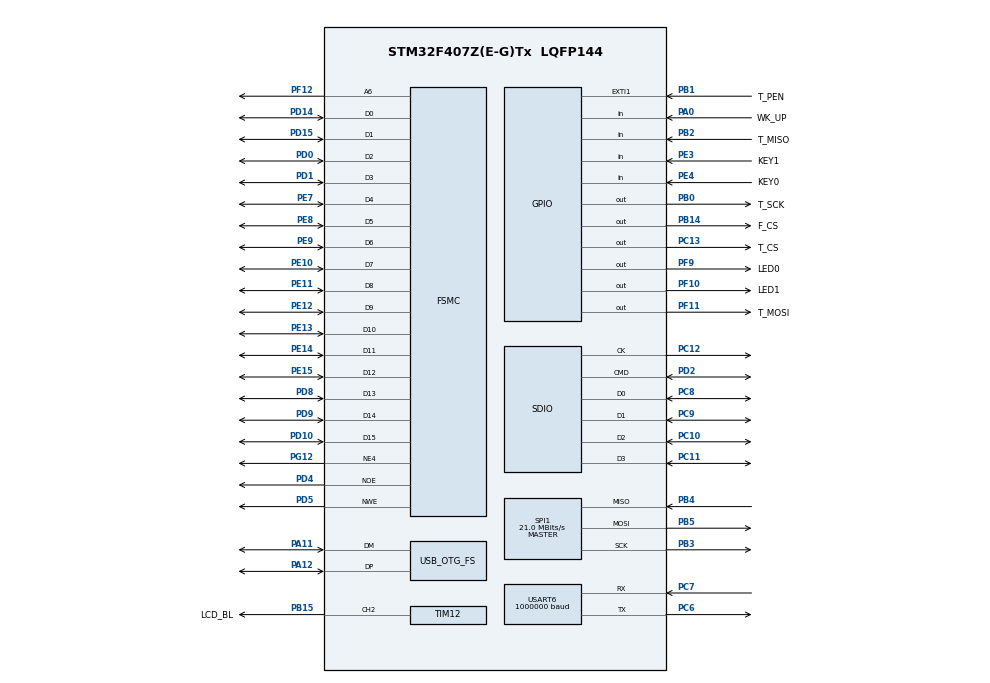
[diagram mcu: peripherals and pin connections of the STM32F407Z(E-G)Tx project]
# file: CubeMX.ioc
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ADC1.Channel-2\#ChannelRegularConversion=ADC_CHANNEL_TEMPSENSOR
ADC1.NbrOfConversionFlag=1
ADC1.Rank-2\#ChannelRegularConversion=1
ADC1.SamplingTime-2\#ChannelRegularConversion=ADC_SAMPLETIME_3CYCLES
ADC1.master=1
Dma.Request0=USART6_RX
Dma.Request1=USART6_TX
Dma.Request2=SDIO_RX
Dma.Request3=SDIO_TX
Dma.SDIO_RX.2.Direction=DMA_PERIPH_TO_MEMORY
Dma.SDIO_RX.2.FIFOMode=DMA_FIFOMODE_ENABLE
Dma.SDIO_RX.2.FIFOThreshold=DMA_FIFO_THRESHOLD_FULL
Dma.SDIO_RX.2.Instance=DMA2_Stream6
Dma.SDIO_RX.2.MemBurst=DMA_MBURST_INC4
Dma.SDIO_RX.2.MemDataAlignment=DMA_MDATAALIGN_WORD
Dma.SDIO_RX.2.MemInc=DMA_MINC_ENABLE
Dma.SDIO_RX.2.Mode=DMA_PFCTRL
Dma.SDIO_RX.2.PeriphBurst=DMA_PBURST_INC4
Dma.SDIO_RX.2.PeriphDataAlignment=DMA_PDATAALIGN_WORD
Dma.SDIO_RX.2.PeriphInc=DMA_PINC_DISABLE
Dma.SDIO_RX.2.Priority=DMA_PRIORITY_HIGH
Dma.SDIO_TX.3.Direction=DMA_MEMORY_TO_PERIPH
Dma.SDIO_TX.3.FIFOMode=DMA_FIFOMODE_ENABLE
Dma.SDIO_TX.3.FIFOThreshold=DMA_FIFO_THRESHOLD_FULL
Dma.SDIO_TX.3.Instance=DMA2_Stream3
Dma.SDIO_TX.3.MemBurst=DMA_MBURST_INC4
Dma.SDIO_TX.3.MemDataAlignment=DMA_MDATAALIGN_WORD
Dma.SDIO_TX.3.MemInc=DMA_MINC_ENABLE
Dma.SDIO_TX.3.Mode=DMA_PFCTRL
Dma.SDIO_TX.3.PeriphBurst=DMA_PBURST_INC4
Dma.SDIO_TX.3.PeriphDataAlignment=DMA_PDATAALIGN_WORD
Dma.SDIO_TX.3.PeriphInc=DMA_PINC_DISABLE
Dma.SDIO_TX.3.Priority=DMA_PRIORITY_HIGH
Dma.USART6_RX.0.Direction=DMA_PERIPH_TO_MEMORY
Dma.USART6_RX.0.FIFOMode=DMA_FIFOMODE_ENABLE
Dma.USART6_RX.0.FIFOThreshold=DMA_FIFO_THRESHOLD_FULL
Dma.USART6_RX.0.Instance=DMA2_Stream1
Dma.USART6_RX.0.MemBurst=DMA_MBURST_SINGLE
Dma.USART6_RX.0.MemDataAlignment=DMA_MDATAALIGN_BYTE
Dma.USART6_RX.0.MemInc=DMA_MINC_ENABLE
Dma.USART6_RX.0.Mode=DMA_CIRCULAR
Dma.USART6_RX.0.PeriphBurst=DMA_PBURST_SINGLE
Dma.USART6_RX.0.PeriphDataAlignment=DMA_PDATAALIGN_BYTE
Dma.USART6_RX.0.PeriphInc=DMA_PINC_DISABLE
Dma.USART6_RX.0.Priority=DMA_PRIORITY_HIGH
Dma.USART6_TX.1.Direction=DMA_MEMORY_TO_PERIPH
Dma.USART6_TX.1.FIFOMode=DMA_FIFOMODE_ENABLE
Dma.USART6_TX.1.FIFOThreshold=DMA_FIFO_THRESHOLD_FULL
Dma.USART6_TX.1.Instance=DMA2_Stream7
Dma.USART6_TX.1.MemBurst=DMA_MBURST_SINGLE
Dma.USART6_TX.1.MemDataAlignment=DMA_MDATAALIGN_BYTE
Dma.USART6_TX.1.MemInc=DMA_MINC_ENABLE
Dma.USART6_TX.1.Mode=DMA_NORMAL
Dma.USART6_TX.1.PeriphBurst=DMA_PBURST_SINGLE
Dma.USART6_TX.1.PeriphDataAlignment=DMA_PDATAALIGN_BYTE
Dma.USART6_TX.1.PeriphInc=DMA_PINC_DISABLE
Dma.USART6_TX.1.Priority=DMA_PRIORITY_HIGH
FATFS.BSP.number=1
FATFS.USE_DMA_CODE_SD=1
FATFS._CODE_PAGE=936
FATFS._FS_EXFAT=1
FATFS._MAX_SS=512
FATFS._MIN_SS=512
FATFS._USE_LFN=2
FATFS0.BSP.STBoard=false
FATFS0.BSP.api=Unknown
FATFS0.BSP.instance=PA0-WKUP
FATFS0.BSP.ip=GPIO
FATFS0.BSP.mode=Input
FATFS0.BSP.name=Detect_SDIO
FATFS0.BSP.solution=PA0-WKUP
FSMC.AddressSetupTime1=8
FSMC.BusTurnAroundDuration1=0
FSMC.DataSetupTime1=30
FSMC.ExtendedAddressSetupTime1=4
FSMC.ExtendedBusTurnAroundDuration1=0
FSMC.ExtendedDataSetupTime1=3
FSMC.ExtendedMode1=FSMC_EXTENDED_MODE_ENABLE
Mcu.Family=STM32F4
Mcu.Name=STM32F407Z(E-G)Tx
Mcu.Package=LQFP144
NVIC.DMA2_Stream1_IRQn=true\:10\:0\:true\:false\:true\:false\:true\:true
NVIC.DMA2_Stream3_IRQn=true\:7\:0\:true\:false\:true\:false\:true\:true
NVIC.DMA2_Stream6_IRQn=true\:7\:0\:true\:false\:true\:false\:true\:true
NVIC.DMA2_Stream7_IRQn=true\:11\:0\:false\:false\:true\:false\:true\:true
NVIC.EXTI1_IRQn=true\:12\:0\:true\:false\:true\:true\:true\:true
NVIC.OTG_FS_IRQn=true\:8\:0\:true\:false\:true\:true\:true\:true
NVIC.PriorityGroup=NVIC_PRIORITYGROUP_4
NVIC.SDIO_IRQn=true\:6\:0\:true\:false\:true\:true\:true\:true
NVIC.TIM2_IRQn=true\:13\:0\:true\:false\:true\:true\:true\:true
NVIC.TIM6_DAC_IRQn=true\:14\:0\:true\:false\:true\:true\:true\:true
NVIC.USART6_IRQn=true\:9\:0\:true\:false\:true\:true\:true\:true
PA0-WKUP.GPIO_Label=WK_UP
PA0-WKUP.GPIO_PuPd=GPIO_PULLDOWN
PA0-WKUP.Signal=GPIO_Input
PA11.Mode=Device_Only
PA11.Signal=USB_OTG_FS_DM
PA12.Mode=Device_Only
PA12.Signal=USB_OTG_FS_DP
PA13.Mode=Serial_Wire
PA13.Signal=SYS_JTMS-SWDIO
PA14.Mode=Serial_Wire
PA14.Signal=SYS_JTCK-SWCLK
PB0.GPIO_Label=T_SCK
PB0.GPIO_Speed=GPIO_SPEED_FREQ_HIGH
PB0.Signal=GPIO_Output
PB1.GPIO_Label=T_PEN
PB1.GPIO_ModeDefaultEXTI=GPIO_MODE_IT_FALLING
PB1.GPIO_PuPd=GPIO_PULLDOWN
PB1.Signal=GPXTI1
PB14.GPIO_Label=F_CS
PB14.GPIO_PuPd=GPIO_PULLDOWN
PB14.GPIO_Speed=GPIO_SPEED_FREQ_LOW
PB14.PinState=GPIO_PIN_SET
PB14.Signal=GPIO_Output
PB15.GPIO_Label=LCD_BL
PB15.Signal=S_TIM12_CH2
PB2.GPIO_Label=T_MISO
PB2.GPIO_PuPd=GPIO_PULLUP
PB2.Signal=GPIO_Input
PB3.Mode=Full_Duplex_Master
PB3.Signal=SPI1_SCK
PB4.Mode=Full_Duplex_Master
PB4.Signal=SPI1_MISO
PB5.Mode=Full_Duplex_Master
PB5.Signal=SPI1_MOSI
PC10.Mode=SD_4_bits_Wide_bus
PC10.Signal=SDIO_D2
PC11.Mode=SD_4_bits_Wide_bus
PC11.Signal=SDIO_D3
PC12.Mode=SD_4_bits_Wide_bus
PC12.Signal=SDIO_CK
PC13-ANTI_TAMP.GPIO_Label=T_CS
PC13-ANTI_TAMP.GPIO_Speed=GPIO_SPEED_FREQ_LOW
PC13-ANTI_TAMP.PinState=GPIO_PIN_RESET
PC13-ANTI_TAMP.Signal=GPIO_Output
PC14-OSC32_IN.Mode=LSE-External-Oscillator
PC14-OSC32_IN.Signal=RCC_OSC32_IN
PC15-OSC32_OUT.Mode=LSE-External-Oscillator
PC15-OSC32_OUT.Signal=RCC_OSC32_OUT
PC6.Mode=Asynchronous
PC6.Signal=USART6_TX
PC7.Mode=Asynchronous
PC7.Signal=USART6_RX
PC8.Mode=SD_4_bits_Wide_bus
PC8.Signal=SDIO_D0
PC9.Mode=SD_4_bits_Wide_bus
PC9.Signal=SDIO_D1
PD0.Signal=FSMC_D2_DA2
PD1.Signal=FSMC_D3_DA3
PD10.Signal=FSMC_D15_DA15
PD14.Signal=FSMC_D0_DA0
PD15.Signal=FSMC_D1_DA1
PD2.Mode=SD_4_bits_Wide_bus
PD2.Signal=SDIO_CMD
PD4.Signal=FSMC_NOE
PD5.Signal=FSMC_NWE
PD8.Signal=FSMC_D13_DA13
PD9.Signal=FSMC_D14_DA14
PE10.Signal=FSMC_D7_DA7
PE11.Signal=FSMC_D8_DA8
PE12.Signal=FSMC_D9_DA9
PE13.Signal=FSMC_D10_DA10
PE14.Signal=FSMC_D11_DA11
PE15.Signal=FSMC_D12_DA12
PE3.GPIO_Label=KEY1
PE3.GPIO_PuPd=GPIO_PULLUP
PE3.Signal=GPIO_Input
PE4.GPIO_Label=KEY0
PE4.GPIO_PuPd=GPIO_PULLUP
PE4.Signal=GPIO_Input
PE7.Signal=FSMC_D4_DA4
PE8.Signal=FSMC_D5_DA5
PE9.Signal=FSMC_D6_DA6
PF10.GPIO_Label=LED1
PF10.GPIO_PuPd=GPIO_PULLDOWN
PF10.GPIO_Speed=GPIO_SPEED_FREQ_HIGH
PF10.PinState=GPIO_PIN_SET
PF10.Signal=GPIO_Output
PF11.GPIO_Label=T_MOSI
PF11.GPIO_Speed=GPIO_SPEED_FREQ_HIGH
PF11.Signal=GPIO_Output
PF12.Signal=FSMC_A6
PF9.GPIO_Label=LED0
PF9.GPIO_PuPd=GPIO_PULLDOWN
PF9.GPIO_Speed=GPIO_SPEED_FREQ_HIGH
PF9.PinState=GPIO_PIN_SET
PF9.Signal=GPIO_Output
PG12.Mode=NorPsramChipSelect4_1
PG12.Signal=FSMC_NE4
PH0-OSC_IN.Mode=HSE-External-Oscillator
PH0-OSC_IN.Signal=RCC_OSC_IN
PH1-OSC_OUT.Mode=HSE-External-Oscillator
PH1-OSC_OUT.Signal=RCC_OSC_OUT
ProjectManager.HeapSize=0x400
ProjectManager.StackSize=0x4000
ProjectManager.TargetToolchain=Makefile
RCC.48MHZClocksFreq_Value=48000000
RCC.AHBFreq_Value=84000000
RCC.APB1CLKDivider=RCC_HCLK_DIV2
RCC.APB1Freq_Value=42000000
RCC.APB1TimFreq_Value=84000000
RCC.APB2Freq_Value=84000000
RCC.APB2TimFreq_Value=84000000
RCC.CortexFreq_Value=84000000
RCC.HCLKFreq_Value=84000000
RCC.HSE_VALUE=8000000
RCC.HSI_VALUE=16000000
RCC.PLLM=4
RCC.PLLN=168
RCC.PLLP=RCC_PLLP_DIV4
RCC.PLLQ=7
RCC.RCC_RTC_Clock_Source=RCC_RTCCLKSOURCE_LSE
RCC.RCC_RTC_Clock_SourceVirtual=RCC_RTCCLKSOURCE_LSE
RCC.SYSCLKFreq_VALUE=84000000
RCC.SYSCLKSource=RCC_SYSCLKSOURCE_PLLCLK
RCC.VCOOutputFreq_Value=336000000
RTC.Date=2
RTC.Format=RTC_FORMAT_BIN
RTC.Hours=12
RTC.Minutes=29
RTC.Month=RTC_MONTH_AUGUST
RTC.Seconds=59
RTC.WeekDay=RTC_WEEKDAY_WEDNESDAY
RTC.Year=23
SH.FSMC_A6.0=FSMC_A6,A6_1
SH.FSMC_D0_DA0.0=FSMC_D0,16b-d1
SH.FSMC_D10_DA10.0=FSMC_D10,16b-d1
SH.FSMC_D11_DA11.0=FSMC_D11,16b-d1
SH.FSMC_D12_DA12.0=FSMC_D12,16b-d1
SH.FSMC_D13_DA13.0=FSMC_D13,16b-d1
SH.FSMC_D14_DA14.0=FSMC_D14,16b-d1
SH.FSMC_D15_DA15.0=FSMC_D15,16b-d1
SH.FSMC_D1_DA1.0=FSMC_D1,16b-d1
SH.FSMC_D2_DA2.0=FSMC_D2,16b-d1
SH.FSMC_D3_DA3.0=FSMC_D3,16b-d1
SH.FSMC_D4_DA4.0=FSMC_D4,16b-d1
SH.FSMC_D5_DA5.0=FSMC_D5,16b-d1
SH.FSMC_D6_DA6.0=FSMC_D6,16b-d1
SH.FSMC_D7_DA7.0=FSMC_D7,16b-d1
SH.FSMC_D8_DA8.0=FSMC_D8,16b-d1
SH.FSMC_D9_DA9.0=FSMC_D9,16b-d1
SH.FSMC_NOE.0=FSMC_NOE,Lcd1
SH.FSMC_NWE.0=FSMC_NWE,Lcd1
SH.S_TIM12_CH2.0=TIM12_CH2,PWM Generation2 CH2
SPI1.BaudRatePrescaler=SPI_BAUDRATEPRESCALER_4
SPI1.CLKPhase=SPI_PHASE_2EDGE
SPI1.CLKPolarity=SPI_POLARITY_HIGH
SPI1.CalculateBaudRate=21.0 MBits/s
SPI1.Direction=SPI_DIRECTION_2LINES
SPI1.Mode=SPI_MODE_MASTER
SPI1.VirtualType=VM_MASTER
TIM12.AutoReloadPreload=TIM_AUTORELOAD_PRELOAD_ENABLE
TIM12.Channel-PWM\ Generation2\ CH2=TIM_CHANNEL_2
TIM12.Period=9
TIM12.Prescaler=8399
TIM12.Pulse-PWM\ Generation2\ CH2=500
TIM2.AutoReloadPreload=TIM_AUTORELOAD_PRELOAD_ENABLE
TIM2.Period=249
TIM2.Prescaler=8399
TIM6.AutoReloadPreload=TIM_AUTORELOAD_PRELOAD_ENABLE
TIM6.Period=9
TIM6.Prescaler=8399
USART6.BaudRate=1000000
USART6.VirtualMode=VM_ASYNC
USB_DEVICE.CLASS_NAME_FS=MSC
USB_DEVICE.MSC_MEDIA_PACKET-MSC_FS=512
USB_DEVICE.VirtualMode-MSC_FS=Msc
USB_DEVICE.VirtualModeFS=Msc_FS
USB_OTG_FS.VirtualMode=Device_Only
VP_ADC1_TempSens_Input.Mode=IN-TempSens
VP_FATFS_VS_SDIO.Mode=SDIO
VP_RTC_VS_RTC_Activate.Mode=RTC_Enabled
VP_RTC_VS_RTC_Calendar.Mode=RTC_Calendar
VP_RTC_VS_RTC_WakeUp_intern.Mode=WakeUp
VP_TIM12_VS_ClockSourceINT.Mode=Internal
VP_TIM2_VS_ClockSourceINT.Mode=Internal
VP_TIM6_VS_ClockSourceINT.Mode=Enable_Timer
VP_USB_DEVICE_VS_USB_DEVICE_MSC_FS.Mode=MSC_FS
board=custom

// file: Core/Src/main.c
/* USER CODE BEGIN Header */
/**
  ******************************************************************************
  * @file           : main.c
  * @brief          : Main program body
  ******************************************************************************
  * @attention
  *
  * Copyright (c) 2023 STMicroelectronics.
  * All rights reserved.
  *
  * This software is licensed under terms that can be found in the LICENSE file
  * in the root directory of this software component.
  * If no LICENSE file comes with this software, it is provided AS-IS.
  *
  ******************************************************************************
  */
/* USER CODE END Header */
#include "main.h"
#include "adc.h"
#include "dma.h"
#include "fatfs.h"
#include "rtc.h"
#include "sdio.h"
#include "spi.h"
#include "tim.h"
#include "usart.h"
#include "usb_device.h"
#include "gpio.h"
#include "fsmc.h"

/* USER CODE BEGIN Includes */
#include <stdio.h>
#include "events.h"
#include "ILI93xx.h"
#include "w25qxx.h"
#include "XPT2046.h"
#include "dev.h"
/* USER CODE END Includes */

/* USER CODE BEGIN PV */
float temperate;
LL_RTC_DateTypeDef curData;
LL_RTC_TimeTypeDef curTime;
uint8_t _CCM_DATA buf[512];
uint16_t _CCM_DATA size;
/* USER CODE END PV */

void SystemClock_Config(void);

/* USER CODE BEGIN 0 */
#ifdef DEBUG
int fputc(int ch, FILE *f) {
  ITM_SendChar(ch);
  return (ch);
}
#endif
/* USER CODE END 0 */

int main(void)
{
  /* USER CODE BEGIN 1 */
  uint16_t ok = 0;
  POINT display;
  /* USER CODE END 1 */

  /* MCU Configuration--------------------------------------------------------*/

  /* Reset of all peripherals, Initializes the Flash interface and the Systick. */
  HAL_Init();

  /* Configure the system clock */
  SystemClock_Config();

  /* Initialize all configured peripherals */
  MX_GPIO_Init();
  MX_DMA_Init();
  MX_TIM2_Init();
  MX_FSMC_Init();
  MX_TIM6_Init();
  MX_TIM12_Init();
  MX_SPI1_Init();
  MX_ADC1_Init();
  MX_RTC_Init();
  MX_USART6_UART_Init();
  MX_SDIO_SD_Init();
  MX_FATFS_Init();
  MX_USB_DEVICE_Init();
  /* USER CODE BEGIN 2 */
  LL_GPIO_SetOutputPin(LED0_GPIO_Port, LED0_Pin);
  LL_GPIO_ResetOutputPin(LED1_GPIO_Port, LED1_Pin);
  W25QXX_Init();
  TFTLCD_Init();
  Touch_Init(1);

  Palette_Init(); // 触摸取色板初始化

  POINT_COLOR = BLACK;
  BACK_COLOR = WHITE;
  LCD_ShowString(50, 7, 50 * 6, 12, 12, (uint8_t *)"hello world");
  /* USER CODE END 2 */

  /* Infinite loop */
  /* USER CODE BEGIN WHILE */
  while (1)
  {
    size = uart6_read(buf, sizeof(buf));
    if (size) {
      uart6_write(buf, size);
    }

    if (XPT2046_GetFlag()) {
      /*获取点的坐标*/
      if(Get_touch_point(&display, Read_2046_2()) != 0) {
        Palette_draw_point(display.x, display.y);
      }
    }

    /* 轮询处理事件 */
    if (!event_empty()) {
      ok = event_poll();
      if (!ok) {
        printf("No event was executed\n");
      }
      continue;
    }

    /* 无事件时执行 */
    temperate = get_cpu_temperate(5);
    RTC_Get(&curData, &curTime);

    uart6_tx_poll();
    /* USER CODE END WHILE */

  }
}

void SystemClock_Config(void)
{
  LL_FLASH_SetLatency(LL_FLASH_LATENCY_2);
  while(LL_FLASH_GetLatency()!= LL_FLASH_LATENCY_2)
  {
  }
  LL_PWR_SetRegulVoltageScaling(LL_PWR_REGU_VOLTAGE_SCALE1);
  LL_RCC_HSE_Enable();

   /* Wait till HSE is ready */
  while(LL_RCC_HSE_IsReady() != 1)
  {

  }
  LL_PWR_EnableBkUpAccess();
  LL_RCC_LSE_Enable();

   /* Wait till LSE is ready */
  while(LL_RCC_LSE_IsReady() != 1)
  {

  }
  LL_RCC_PLL_ConfigDomain_SYS(LL_RCC_PLLSOURCE_HSE, LL_RCC_PLLM_DIV_4, 168, LL_RCC_PLLP_DIV_4);
  LL_RCC_PLL_ConfigDomain_48M(LL_RCC_PLLSOURCE_HSE, LL_RCC_PLLM_DIV_4, 168, LL_RCC_PLLQ_DIV_7);
  LL_RCC_PLL_Enable();

   /* Wait till PLL is ready */
  while(LL_RCC_PLL_IsReady() != 1)
  {

  }
  while (LL_PWR_IsActiveFlag_VOS() == 0)
  {
  }
  LL_RCC_SetAHBPrescaler(LL_RCC_SYSCLK_DIV_1);
  LL_RCC_SetAPB1Prescaler(LL_RCC_APB1_DIV_2);
  LL_RCC_SetAPB2Prescaler(LL_RCC_APB2_DIV_1);
  LL_RCC_SetSysClkSource(LL_RCC_SYS_CLKSOURCE_PLL);

   /* Wait till System clock is ready */
  while(LL_RCC_GetSysClkSource() != LL_RCC_SYS_CLKSOURCE_STATUS_PLL)
  {

  }
  LL_SetSystemCoreClock(84000000);

   /* Update the time base */
  if (HAL_InitTick (TICK_INT_PRIORITY) != HAL_OK)
  {
    Error_Handler();
  }
}

void Error_Handler(void)
{
  __disable_irq();
  while (1)
  {
  }
}
